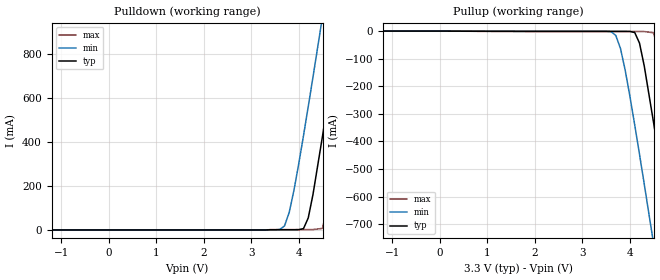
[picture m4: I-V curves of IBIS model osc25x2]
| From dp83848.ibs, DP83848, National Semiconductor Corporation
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|   Model osc25x2
[Model]   osc25x2
Model_type   Output
Polarity   Inverting
Enable   Active-High
Vmeas = 1.5000V
C_comp   1.0000pF   1.0000pF   1.0000pF
[Temperature Range]   25.0000   0.1250k   -40.0000
[Voltage Range]   3.3000V   3.0000V   3.6000V
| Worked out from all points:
|   slope of the pullup table from 0 to 0.495 V, typ, clamps not added: 1.19 kohm
[Pulldown]
| voltage   I(typ)   I(min)   I(max)
-3.3V     0A         0A         0A
3.6V      1.099mA    2.318mA    1.555mA
3.7V      1.103mA    18.37mA    1.56mA
3.8V      1.11mA     80.08mA    1.567mA
4.1V      6.217mA    428mA      1.603mA
4.2V      54.57mA    559.8mA    1.639mA
4.5V      425.9mA    967.9mA    7.417mA
4.7V      707.9mA    1.245A     200.5mA
4.9V      996mA      1.525A     486.1mA
5.1V      1.287A     1.806A     783.4mA
5.3V      1.58A      2.089A     1.085A
6.6V      3.503A     3.939A     3.076A
[Pullup]
| voltage   I(typ)   I(min)   I(max)
-3.3V     0A         0A         0A
3.6V      -1.081mA   -2.06mA    -1.527mA
3.7V      -1.083mA   -15.55mA   -1.53mA
3.8V      -1.086mA   -63.14mA   -1.534mA
4.1V      -5.367mA   -340.7mA   -1.543mA
4.2V      -43.48mA   -446.6mA   -1.551mA
4.5V      -335.7mA   -775mA     -6.395mA
4.7V      -559.6mA   -998.5mA   -156mA
4.9V      -788.6mA   -1.224A    -379.2mA
5.1V      -1.02A     -1.451A    -612.3mA
5.3V      -1.253A    -1.678A    -849mA
6.6V      -2.784A    -3.17A     -2.413A
[Ramp]
| variable   typ   min   max
dV/dt_r   1.7737/0.4988n   1.5328/0.7567n   1.9870/0.3615n
dV/dt_f   1.8364/0.4766n   1.5967/0.7630n   2.0404/0.3438n
R_load = 10.0000k
